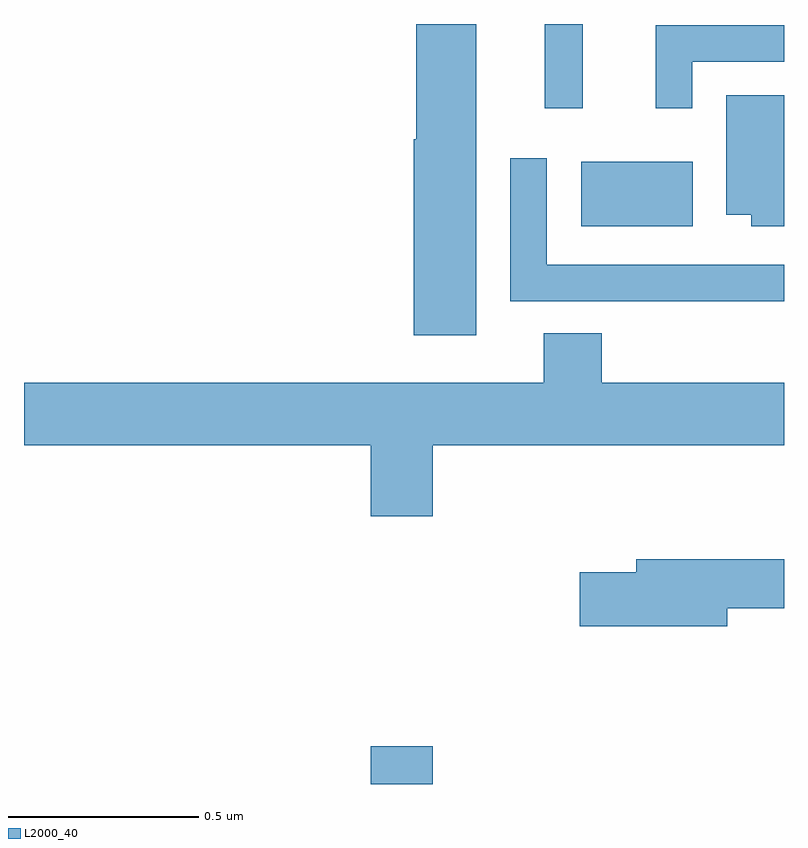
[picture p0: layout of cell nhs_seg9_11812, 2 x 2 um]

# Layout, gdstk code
import gdstk
lib = gdstk.Library(unit=1e-6, precision=1e-09)
def R(c, l, rs):  # rectangles x0, y0, x1, y1
    for r in rs: c.add(gdstk.rectangle(r[:2], r[2:], *l))
def P(c, l, *ps):  # polygons
    for p in ps: c.add(gdstk.Polygon(p, *l))
L2000_40 = (2000, 40)

nhs_seg9_11812 = lib.new_cell('nhs_seg9_11812')
R(nhs_seg9_11812, L2000_40, [(260.912,1223.5,261.076,1223.599), (261.467,1224.968,261.76,1225.138), (261.371,1225.278,261.47,1225.5)])
P(nhs_seg9_11812, L2000_40, [(261.19,1225.5),(261.032,1225.5),(261.032,1225.197),(261.026,1225.197),(261.026,1224.681),(261.19,1224.681)],
  [(261.759,1225.401),(262,1225.401),(262,1225.497),(261.662,1225.497),(261.662,1225.278),(261.759,1225.278)],
  [(262,1225.312),(261.848,1225.312),(261.848,1224.998),(261.914,1224.998),(261.914,1224.968),(262,1224.968)],
  [(262,1224.867),(261.375,1224.867),(261.375,1225.147),(261.279,1225.147),(261.279,1224.771),(261.604,1224.771),(261.604,1224.77),(262,1224.77)],
  [(261.076,1224.392),(262,1224.392),(262,1224.556),(261.521,1224.556),(261.521,1224.686),(261.368,1224.686),(261.368,1224.556),(260,1224.556),(260,1224.392),(260.912,1224.392),(260.912,1224.204),(261.076,1224.204)],
  [(261.85,1223.962),(262,1223.962),(262,1224.091),(261.611,1224.091),(261.611,1224.057),(261.462,1224.057),(261.462,1223.915),(261.85,1223.915)])

lib.write_gds('nhs_seg9_11812.gds')
